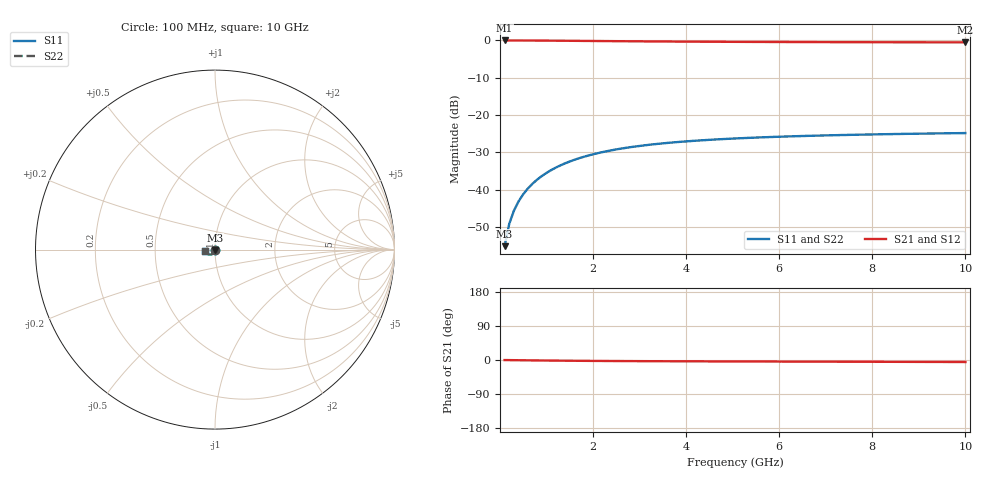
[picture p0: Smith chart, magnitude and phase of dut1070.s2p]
! Touchstone file exported from HFSS 2024.1.0
!  File:  C:/UserFiles/LocalFiles/RDL_TSV_Batchsim/temp_TSV1_1070_1780064374.aedt
!  Generated:  10:24:01 PM May 29, 2026
!  Design:  TSV1
!  Project:  temp_TSV1_1070_1780064374
!  Setup:  Setup1
!  Solution:  Sweep
! Variables:
!  dtsv = 13.93um
!  hbump = 3um
!  htsv = 81.22um
!  lrdl = 252.1521522um
!  p = 40
!  p1 = 54.65um
!  t = 500um
!  trdl = 3um
!  wrdl = 24.89489489um
# GHz S MA R 50.000000
! Terminal data exported
! Port[1] = TSV22_T1
! Port[2] = TSV22_T2
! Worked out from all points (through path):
!   100 points, 100 MHz to 10 GHz, reference 50 ohm
!   highest |S21| = 0.00 dB at 100 MHz (marker M1); lowest = -0.5 dB at 10 GHz (marker M2)
!   lowest |S11| = -55.2 dB at 100 MHz (marker M3), VSWR 1.00, Z = 50 - j0.175 ohm
!   |S11| at or under -10 dB: start of sweep to end of sweep
!   |S22| runs from -55.2 to -24.8 dB; largest |S21 - S12| = 9.2e-15
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0.1  0.001747 -89.1  0.9999 -0.1  0.9999 -0.1  0.001747 -89.1
! Gamma 0 0 0 0
! Port Impedance 50 0 50 0
0.2  0.003492 -92.2  0.9997 -0.3  0.9997 -0.3  0.003492 -92.2
0.3  0.005233 -94.4  0.9994 -0.4  0.9994 -0.4  0.005233 -94.4
0.4  0.006963 -96.5  0.999 -0.6  0.999 -0.6  0.006963 -96.5
0.5  0.008676 -98.5  0.9984 -0.7  0.9984 -0.7  0.008676 -98.5
0.6  0.01036 -100.4  0.9978 -0.9  0.9978 -0.9  0.01036 -100.4
0.7  0.01202 -102.3  0.9972 -1.0  0.9972 -1.0  0.01202 -102.3
0.8  0.01365 -104.2  0.9964 -1.1  0.9964 -1.1  0.01365 -104.2
0.9  0.01523 -106.0  0.9955 -1.3  0.9955 -1.3  0.01523 -106.0
1.1  0.01829 -109.5  0.9937 -1.5  0.9937 -1.5  0.01829 -109.5
1.4  0.02253 -114.4  0.9905 -1.8  0.9905 -1.8  0.02253 -114.4
1.6  0.02513 -117.5  0.9883 -2.0  0.9883 -2.0  0.02513 -117.5
1.8  0.02754 -120.4  0.986 -2.2  0.986 -2.2  0.02754 -120.4
2.1  0.03082 -124.5  0.9826 -2.5  0.9826 -2.5  0.03082 -124.5
2.5  0.03461 -129.4  0.9781 -2.7  0.9781 -2.7  0.03461 -129.4
2.9  0.03782 -133.7  0.974 -3.0  0.974 -3.0  0.03782 -133.7
3.4  0.04115 -138.5  0.9694 -3.2  0.9694 -3.2  0.04115 -138.5
4.2  0.04527 -145.0  0.9631 -3.5  0.9631 -3.5  0.04527 -145.0
5.1  0.04868 -150.8  0.9576 -3.8  0.9576 -3.8  0.04868 -150.8
6.7  0.05277 -159.0  0.9507 -4.3  0.9507 -4.3  0.05277 -159.0
8.4  0.05554 -165.6  0.9459 -4.8  0.9459 -4.8  0.05554 -165.6
10  0.05734 -170.6  0.9428 -5.3  0.9428 -5.3  0.05734 -170.6
